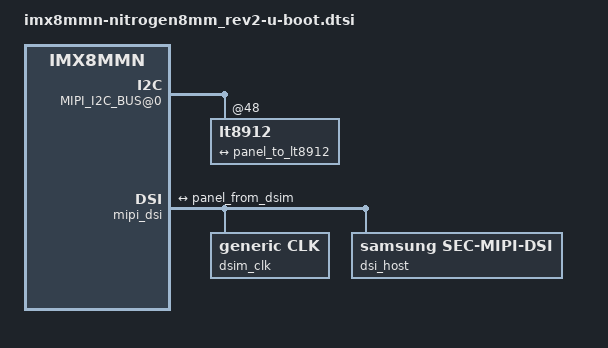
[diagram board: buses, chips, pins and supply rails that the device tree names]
// SPDX-License-Identifier: GPL-2.0+
/*
 * Copyright 2021 Boundary Devices
 */
#ifndef SKIP_MIPI_PANELS
&lcdif {
	display = <&fb_mipi>;
};

#ifndef SKIP_LONTIUM_DAUGHTER_BOARDS
&mipi_ref2(lt8912, 2) {
	port@0 {
		lt8912_2_from_panel: endpoint {
			remote-endpoint = <&panel_to_lt8912_2>;
		};
	};
};
#endif

&mipi_dsi {
	fb_mipi: panel@0 {
		bits-per-pixel = <24>;
		bus-width = <24>;
		clocks = <&dsim_clk 0>,
				<&clk IMX8MMN(CLK_LCDIF_PIXEL)>;

		mipi_to_lvds: mipi-to-lvds {
			interrupts-gpios = GP_MIPI_IRQ(GPIO_ACTIVE_HIGH);
		};

		port@1 {
			panel_from_dsim: endpoint {
				remote-endpoint = <&dsim_to_panel>;
			};
		};

#ifndef SKIP_LONTIUM_DAUGHTER_BOARDS
		port@2 {
			panel_to_lt8912: endpoint {
				remote-endpoint = <&lt8912_from_panel>;
			};
		};

		port@3 {
			panel_to_lt8912_2: endpoint {
				remote-endpoint = <&lt8912_2_from_panel>;
			};
		};
#endif
	};

	dsim_clk: dsim-clk {
		#clock-cells = <1>;
		#size-cells = <0>;
		compatible = "generic,clk";
		clocks = <&clk IMX8MMN(CLK_DSI_PHY_REF)>;
		clock-names = "parent";
		clock-output-names = "dsim-clk";
		status = "okay";
	};

	dsi_host: dsi-host {
		compatible = "samsung,sec-mipi-dsi";
		clocks = <&dsim_clk 0>,
			 <&clk IMX8MMN(CLK_DSI_CORE)>,
			 <&clk IMX8MMN(CLK_DSI_PHY_REF)>,
			 <&clk IMX8MMN(CLK_LCDIF_PIXEL)>;
		clock-names = "dsim-clk", "cfg", "pll-ref", "pixel_clock";
		status = "okay";
	};

	port@1 {
		dsim_to_panel: endpoint {
			remote-endpoint = <&panel_from_dsim>;
		};
	};
};

#ifndef SKIP_LONTIUM_DAUGHTER_BOARDS
&mipi_ref(pca9546) {
	MIPI_I2C_BUS@0 {
		lt8912@48 {
			port@0 {
				lt8912_from_panel: endpoint {
					remote-endpoint = <&panel_to_lt8912>;
				};
			};
		};
	};
};
#endif
#endif

&uart1 { /* BT */
	status = "disabled";
};

&uart3 { /* J15 */
	status = "disabled";
};

&uart4 {
	status = "disabled";
};

&usdhc1 {
	cap-mmc-highspeed;
	mmc-ddr-1_8v;
	mmc-hs200-1_8v;
	reset-gpios = GP_EMMC_RESET;
};

&usdhc2 {
	cap-sd-highspeed;
	sd-uhs-ddr50;
	sd-uhs-sdr104;
	sd-uhs-sdr12;
	sd-uhs-sdr25;
	vqmmc-supply = <&reg_usdhc2_vqmmc>;
};

&usdhc3 {
	status = "disabled";
};
